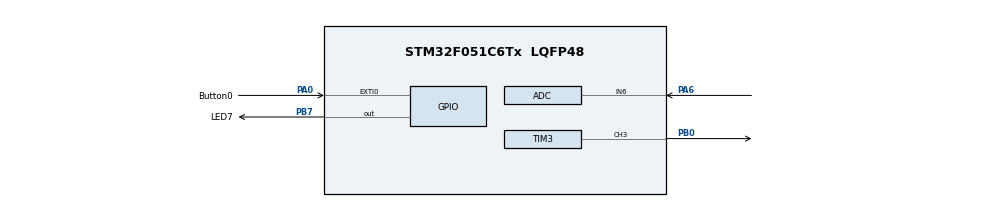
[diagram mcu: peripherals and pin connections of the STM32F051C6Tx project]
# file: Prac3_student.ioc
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ADC.Resolution=ADC_RESOLUTION_12B
Mcu.Family=STM32F0
Mcu.Name=STM32F051C6Tx
Mcu.Package=LQFP48
PA0.GPIO_Label=Button0
PA0.GPIO_PuPd=GPIO_PULLUP
PA0.Signal=GPXTI0
PA13.Mode=Serial_Wire
PA13.Signal=SYS_SWDIO
PA14.Mode=Serial_Wire
PA14.Signal=SYS_SWCLK
PA6.Mode=IN6
PA6.Signal=ADC_IN6
PB0.Signal=S_TIM3_CH3
PB7.GPIO_Label=LED7
PB7.Signal=GPIO_Output
PF0-OSC_IN.Mode=HSE-External-Oscillator
PF0-OSC_IN.Signal=RCC_OSC_IN
PF1-OSC_OUT.Mode=HSE-External-Oscillator
PF1-OSC_OUT.Signal=RCC_OSC_OUT
ProjectManager.HeapSize=0x200
ProjectManager.StackSize=0x400
ProjectManager.TargetToolchain=STM32CubeIDE
SH.S_TIM3_CH3.0=TIM3_CH3,PWM Generation3 CH3
TIM3.Channel-PWM\ Generation3\ CH3=TIM_CHANNEL_3
TIM3.Period=47999
VP_TIM3_VS_ClockSourceINT.Mode=Internal
board=custom

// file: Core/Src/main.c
/* USER CODE BEGIN Header */
/**
  ******************************************************************************
  * @file           : main.c
  * @brief          : Main program body
  ******************************************************************************
  * @attention
  *
  * Copyright (c) 2023 STMicroelectronics.
  * All rights reserved.
  *
  * This software is licensed under terms that can be found in the LICENSE file
  * in the root directory of this software component.
  * If no LICENSE file comes with this software, it is provided AS-IS.
  *
  ******************************************************************************
  */
/* USER CODE END Header */
#include "main.h"

/* USER CODE BEGIN Includes */
#include <stdio.h>
#include "stm32f0xx.h"
#include <lcd_stm32f0.c>
/* USER CODE END Includes */

ADC_HandleTypeDef hadc;
TIM_HandleTypeDef htim3;

/* USER CODE BEGIN PV */
uint32_t prev_millis = 0;
uint32_t curr_millis = 0;
uint32_t delay_t = 500; // Initialise delay to 500ms
uint32_t adc_val;
/* USER CODE END PV */

void SystemClock_Config(void);
static void MX_GPIO_Init(void);
static void MX_ADC_Init(void);
static void MX_TIM3_Init(void);

/* USER CODE BEGIN PFP */
void EXTI0_1_IRQHandler(void);
void writeLCD(char *char_in);
uint32_t pollADC(void);
uint32_t ADCtoCCR(uint32_t adc_val);
/* USER CODE END PFP */

int main(void)
{

  /* MCU Configuration--------------------------------------------------------*/

  /* Reset of all peripherals, Initializes the Flash interface and the Systick. */
  HAL_Init();

  /* Configure the system clock */
  SystemClock_Config();

  /* Initialize all configured peripherals */
  MX_GPIO_Init();
  MX_ADC_Init();
  MX_TIM3_Init();

  /* USER CODE BEGIN 2 */
  init_LCD();

  // PWM setup
  uint32_t CCR = 0;
  HAL_TIM_PWM_Start(&htim3, TIM_CHANNEL_3); // Start PWM on TIM3 Channel 3
  /* USER CODE END 2 */

  /* Infinite loop */
  /* USER CODE BEGIN WHILE */
  while (1)
  {
	// Toggle LED0
	HAL_GPIO_TogglePin(GPIOB, LED7_Pin);

	// ADC to LCD; TODO: Read POT1 value and write to LCD

	// Update PWM value; TODO: Get CRR

	__HAL_TIM_SetCompare(&htim3, TIM_CHANNEL_3, CCR);

	// Wait for delay ms
	HAL_Delay (delay_t);
    /* USER CODE END WHILE */

  }
}

void SystemClock_Config(void)
{
  LL_FLASH_SetLatency(LL_FLASH_LATENCY_0);
  while(LL_FLASH_GetLatency() != LL_FLASH_LATENCY_0)
  {
  }
  LL_RCC_HSI_Enable();

   /* Wait till HSI is ready */
  while(LL_RCC_HSI_IsReady() != 1)
  {

  }
  LL_RCC_HSI_SetCalibTrimming(16);
  LL_RCC_HSI14_Enable();

   /* Wait till HSI14 is ready */
  while(LL_RCC_HSI14_IsReady() != 1)
  {

  }
  LL_RCC_HSI14_SetCalibTrimming(16);
  LL_RCC_SetAHBPrescaler(LL_RCC_SYSCLK_DIV_1);
  LL_RCC_SetAPB1Prescaler(LL_RCC_APB1_DIV_1);
  LL_RCC_SetSysClkSource(LL_RCC_SYS_CLKSOURCE_HSI);

   /* Wait till System clock is ready */
  while(LL_RCC_GetSysClkSource() != LL_RCC_SYS_CLKSOURCE_STATUS_HSI)
  {

  }
  LL_SetSystemCoreClock(8000000);

   /* Update the time base */
  if (HAL_InitTick (TICK_INT_PRIORITY) != HAL_OK)
  {
    Error_Handler();
  }
  LL_RCC_HSI14_EnableADCControl();
}

static void MX_ADC_Init(void)
{

  ADC_ChannelConfTypeDef sConfig = {0};

  /** Configure the global features of the ADC (Clock, Resolution, Data Alignment and number of conversion)
  */
  hadc.Instance = ADC1;
  hadc.Init.ClockPrescaler = ADC_CLOCK_ASYNC_DIV1;
  hadc.Init.Resolution = ADC_RESOLUTION_12B;
  hadc.Init.DataAlign = ADC_DATAALIGN_RIGHT;
  hadc.Init.ScanConvMode = ADC_SCAN_DIRECTION_FORWARD;
  hadc.Init.EOCSelection = ADC_EOC_SINGLE_CONV;
  hadc.Init.LowPowerAutoWait = DISABLE;
  hadc.Init.LowPowerAutoPowerOff = DISABLE;
  hadc.Init.ContinuousConvMode = DISABLE;
  hadc.Init.DiscontinuousConvMode = DISABLE;
  hadc.Init.ExternalTrigConv = ADC_SOFTWARE_START;
  hadc.Init.ExternalTrigConvEdge = ADC_EXTERNALTRIGCONVEDGE_NONE;
  hadc.Init.DMAContinuousRequests = DISABLE;
  hadc.Init.Overrun = ADC_OVR_DATA_PRESERVED;
  if (HAL_ADC_Init(&hadc) != HAL_OK)
  {
    Error_Handler();
  }

  /** Configure for the selected ADC regular channel to be converted.
  */
  sConfig.Channel = ADC_CHANNEL_6;
  sConfig.Rank = ADC_RANK_CHANNEL_NUMBER;
  sConfig.SamplingTime = ADC_SAMPLETIME_1CYCLE_5;
  if (HAL_ADC_ConfigChannel(&hadc, &sConfig) != HAL_OK)
  {
    Error_Handler();
  }
  /* USER CODE BEGIN ADC_Init 2 */
  ADC1->CR |= ADC_CR_ADCAL;
  while(ADC1->CR & ADC_CR_ADCAL);			// Calibrate the ADC
  ADC1->CR |= (1 << 0);						// Enable ADC
  while((ADC1->ISR & (1 << 0)) == 0);		// Wait for ADC ready
  /* USER CODE END ADC_Init 2 */

}

static void MX_TIM3_Init(void)
{

  TIM_ClockConfigTypeDef sClockSourceConfig = {0};
  TIM_MasterConfigTypeDef sMasterConfig = {0};
  TIM_OC_InitTypeDef sConfigOC = {0};

  htim3.Instance = TIM3;
  htim3.Init.Prescaler = 0;
  htim3.Init.CounterMode = TIM_COUNTERMODE_UP;
  htim3.Init.Period = 47999;
  htim3.Init.ClockDivision = TIM_CLOCKDIVISION_DIV1;
  htim3.Init.AutoReloadPreload = TIM_AUTORELOAD_PRELOAD_DISABLE;
  if (HAL_TIM_Base_Init(&htim3) != HAL_OK)
  {
    Error_Handler();
  }
  sClockSourceConfig.ClockSource = TIM_CLOCKSOURCE_INTERNAL;
  if (HAL_TIM_ConfigClockSource(&htim3, &sClockSourceConfig) != HAL_OK)
  {
    Error_Handler();
  }
  if (HAL_TIM_PWM_Init(&htim3) != HAL_OK)
  {
    Error_Handler();
  }
  sMasterConfig.MasterOutputTrigger = TIM_TRGO_RESET;
  sMasterConfig.MasterSlaveMode = TIM_MASTERSLAVEMODE_DISABLE;
  if (HAL_TIMEx_MasterConfigSynchronization(&htim3, &sMasterConfig) != HAL_OK)
  {
    Error_Handler();
  }
  sConfigOC.OCMode = TIM_OCMODE_PWM1;
  sConfigOC.Pulse = 0;
  sConfigOC.OCPolarity = TIM_OCPOLARITY_HIGH;
  sConfigOC.OCFastMode = TIM_OCFAST_DISABLE;
  if (HAL_TIM_PWM_ConfigChannel(&htim3, &sConfigOC, TIM_CHANNEL_3) != HAL_OK)
  {
    Error_Handler();
  }
  HAL_TIM_MspPostInit(&htim3);

}

static void MX_GPIO_Init(void)
{
  LL_EXTI_InitTypeDef EXTI_InitStruct = {0};
  LL_GPIO_InitTypeDef GPIO_InitStruct = {0};

  /* GPIO Ports Clock Enable */
  LL_AHB1_GRP1_EnableClock(LL_AHB1_GRP1_PERIPH_GPIOF);
  LL_AHB1_GRP1_EnableClock(LL_AHB1_GRP1_PERIPH_GPIOA);
  LL_AHB1_GRP1_EnableClock(LL_AHB1_GRP1_PERIPH_GPIOB);

  /**/
  LL_GPIO_ResetOutputPin(LED7_GPIO_Port, LED7_Pin);

  /**/
  LL_SYSCFG_SetEXTISource(LL_SYSCFG_EXTI_PORTA, LL_SYSCFG_EXTI_LINE0);

  /**/
  LL_GPIO_SetPinPull(Button0_GPIO_Port, Button0_Pin, LL_GPIO_PULL_UP);

  /**/
  LL_GPIO_SetPinMode(Button0_GPIO_Port, Button0_Pin, LL_GPIO_MODE_INPUT);

  /**/
  EXTI_InitStruct.Line_0_31 = LL_EXTI_LINE_0;
  EXTI_InitStruct.LineCommand = ENABLE;
  EXTI_InitStruct.Mode = LL_EXTI_MODE_IT;
  EXTI_InitStruct.Trigger = LL_EXTI_TRIGGER_RISING;
  LL_EXTI_Init(&EXTI_InitStruct);

  /**/
  GPIO_InitStruct.Pin = LED7_Pin;
  GPIO_InitStruct.Mode = LL_GPIO_MODE_OUTPUT;
  GPIO_InitStruct.Speed = LL_GPIO_SPEED_FREQ_LOW;
  GPIO_InitStruct.OutputType = LL_GPIO_OUTPUT_PUSHPULL;
  GPIO_InitStruct.Pull = LL_GPIO_PULL_NO;
  LL_GPIO_Init(LED7_GPIO_Port, &GPIO_InitStruct);

/* USER CODE BEGIN MX_GPIO_Init_2 */
  HAL_NVIC_SetPriority(EXTI0_1_IRQn, 0, 0);
  HAL_NVIC_EnableIRQ(EXTI0_1_IRQn);
/* USER CODE END MX_GPIO_Init_2 */
}

/* USER CODE BEGIN 4 */
void EXTI0_1_IRQHandler(void)
{
	// TODO: Add code to switch LED7 delay frequency

	HAL_GPIO_EXTI_IRQHandler(Button0_Pin); // Clear interrupt flags
}

// TODO: Complete the writeLCD function
void writeLCD(char *char_in){
    delay(3000);
	lcd_command(CLEAR);

}

// Get ADC value
uint32_t pollADC(void){
  // TODO: Complete function body to get ADC val

	return val;
}

// Calculate PWM CCR value
uint32_t ADCtoCCR(uint32_t adc_val){
  // TODO: Calculate CCR val using an appropriate equation

	return val;
}

void ADC1_COMP_IRQHandler(void)
{
	adc_val = HAL_ADC_GetValue(&hadc); // read adc value
	HAL_ADC_IRQHandler(&hadc); //Clear flags
}
/* USER CODE END 4 */

void Error_Handler(void)
{
  __disable_irq();
  while (1)
  {
  }
}
